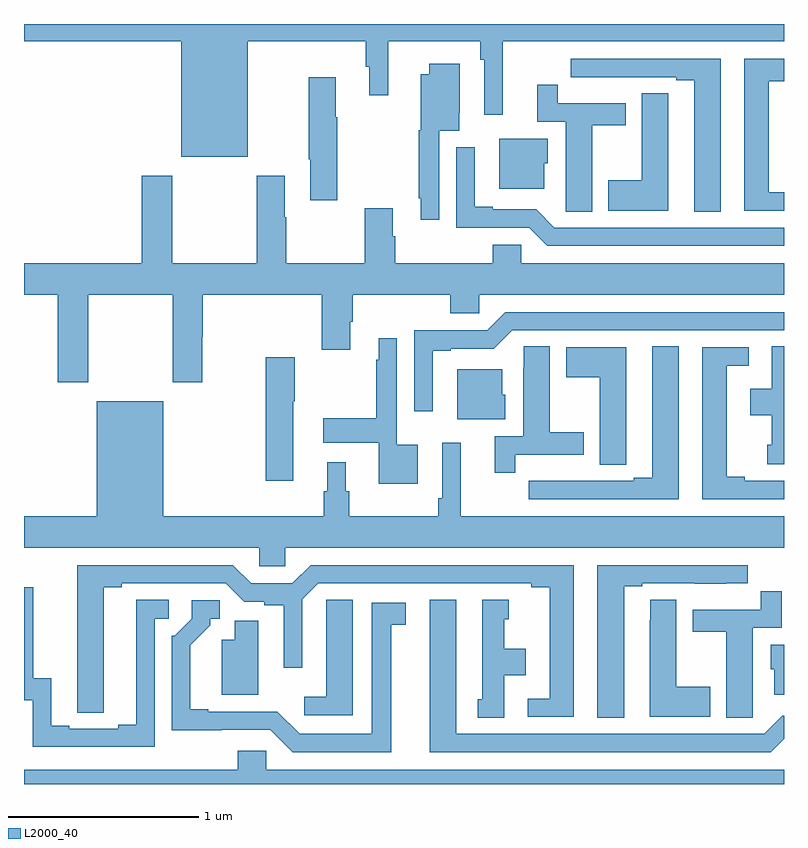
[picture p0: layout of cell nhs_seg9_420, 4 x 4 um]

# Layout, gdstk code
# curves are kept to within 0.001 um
import gdstk
lib = gdstk.Library(unit=1e-6, precision=1e-09)
def P(c, l, *ps):  # polygons
    for p in ps: c.add(gdstk.Polygon(p, *l))
L2000_40 = (2000, 40)

nhs_seg9_420 = lib.new_cell('nhs_seg9_420')
P(nhs_seg9_420, L2000_40, [(132.178,1208.408),(132.799,1208.408),(132.799,1208.274),(132.818,1208.274),(132.818,1208.124),(132.917,1208.124),(132.917,1208.408),(133.402,1208.408),(133.402,1208.312),(133.422,1208.312),(133.422,1208.022),(133.52,1208.022),(133.52,1208.408),(135,1208.408),(135,1208.5),(131,1208.5),(131,1208.408),(131.828,1208.408),(131.828,1207.802),(132.178,1207.802)],
  [(135,1207.614),(134.92,1207.614),(134.92,1208.2),(135,1208.2),(135,1208.316),(134.792,1208.316),(134.792,1207.518),(135,1207.518)],
  [(134.668,1208.316),(133.878,1208.316),(133.878,1208.22),(133.99,1208.22),(133.99,1208.219),(134.156,1208.219),(134.156,1208.22),(134.432,1208.22),(134.432,1208.205),(134.528,1208.205),(134.528,1207.513),(134.668,1207.513)],
  [(133.185,1207.937),(133.291,1207.937),(133.291,1208.034),(133.294,1208.034),(133.294,1208.29),(133.133,1208.29),(133.133,1208.236),(133.088,1208.236),(133.088,1207.941),(133.077,1207.941),(133.077,1207.582),(133.088,1207.582),(133.088,1207.47),(133.185,1207.47)],
  [(132.648,1208.008),(132.64,1208.008),(132.64,1208.221),(132.499,1208.221),(132.499,1207.789),(132.506,1207.789),(132.506,1207.572),(132.648,1207.572)],
  [(133.99,1207.966),(134.167,1207.966),(134.167,1208.082),(133.808,1208.082),(133.808,1208.179),(133.7,1208.179),(133.7,1207.986),(133.85,1207.986),(133.85,1207.624),(133.851,1207.624),(133.851,1207.513),(133.99,1207.513)],
  [(134.392,1208.027),(134.391,1208.027),(134.391,1208.135),(134.252,1208.135),(134.252,1207.677),(134.075,1207.677),(134.075,1207.517),(134.392,1207.517)],
  [(133.738,1207.767),(133.756,1207.767),(133.756,1207.897),(133.502,1207.897),(133.502,1207.634),(133.738,1207.634)],
  [(135,1207.428),(133.791,1207.428),(133.695,1207.524),(133.468,1207.524),(133.468,1207.537),(133.372,1207.537),(133.372,1207.852),(133.275,1207.852),(133.275,1207.428),(133.659,1207.428),(133.755,1207.332),(135,1207.332)],
  [(131.337,1207.076),(131.782,1207.076),(131.782,1206.615),(131.937,1206.615),(131.937,1206.854),(131.942,1206.854),(131.942,1207.076),(132.566,1207.076),(132.566,1206.786),(132.718,1206.786),(132.718,1206.934),(132.731,1206.934),(132.731,1207.076),(133.244,1207.076),(133.244,1206.978),(133.395,1206.978),(133.395,1207.076),(135,1207.076),(135,1207.24),(133.617,1207.24),(133.617,1207.338),(133.466,1207.338),(133.466,1207.24),(132.953,1207.24),(132.953,1207.382),(132.94,1207.382),(132.94,1207.531),(132.793,1207.531),(132.793,1207.24),(132.381,1207.24),(132.381,1207.484),(132.373,1207.484),(132.373,1207.702),(132.226,1207.702),(132.226,1207.24),(131.781,1207.24),(131.781,1207.702),(131.621,1207.702),(131.621,1207.24),(131,1207.24),(131,1207.076),(131.177,1207.076),(131.177,1206.615),(131.337,1206.615)],
  [(133.15,1206.78),(133.246,1206.78),(133.246,1206.792),(133.473,1206.792),(133.569,1206.888),(135,1206.888),(135,1206.984),(133.533,1206.984),(133.437,1206.888),(133.053,1206.888),(133.053,1206.462),(133.15,1206.462)],
  [(133.072,1206.286),(132.963,1206.286),(132.963,1206.847),(132.866,1206.847),(132.866,1206.734),(132.855,1206.734),(132.855,1206.426),(132.576,1206.426),(132.576,1206.296),(132.866,1206.296),(132.866,1206.08),(133.072,1206.08)],
  [(134.446,1206.803),(134.306,1206.803),(134.306,1206.111),(134.21,1206.111),(134.21,1206.096),(133.934,1206.096),(133.934,1206.097),(133.768,1206.097),(133.768,1206.096),(133.656,1206.096),(133.656,1206),(134.446,1206)],
  [(135,1206.803),(134.936,1206.803),(134.936,1206.58),(134.822,1206.58),(134.822,1206.44),(134.936,1206.44),(134.936,1206.285),(134.912,1206.285),(134.912,1206.183),(135,1206.183)],
  [(133.586,1206.234),(133.945,1206.234),(133.945,1206.351),(133.768,1206.351),(133.768,1206.803),(133.629,1206.803),(133.629,1206.692),(133.628,1206.692),(133.628,1206.33),(133.478,1206.33),(133.478,1206.138),(133.586,1206.138)],
  [(134.169,1206.289),(134.17,1206.289),(134.17,1206.799),(133.853,1206.799),(133.853,1206.64),(134.03,1206.64),(134.03,1206.181),(134.169,1206.181)],
  [(135,1206.096),(134.794,1206.096),(134.794,1206.116),(134.698,1206.116),(134.698,1206.702),(134.815,1206.702),(134.815,1206.798),(134.57,1206.798),(134.57,1206),(135,1206)],
  [(132.418,1206.514),(132.426,1206.514),(132.426,1206.745),(132.272,1206.745),(132.272,1206.096),(132.418,1206.096)],
  [(133.534,1206.549),(133.516,1206.549),(133.516,1206.682),(133.28,1206.682),(133.28,1206.419),(133.534,1206.419)],
  [(132.375,1205.744),(135,1205.744),(135,1205.908),(133.298,1205.908),(133.298,1206.295),(133.2,1206.295),(133.2,1206.004),(133.18,1206.004),(133.18,1205.908),(132.713,1205.908),(132.713,1206.042),(132.694,1206.042),(132.694,1206.193),(132.596,1206.193),(132.596,1206.042),(132.577,1206.042),(132.577,1205.908),(131.734,1205.908),(131.734,1206.514),(131.384,1206.514),(131.384,1205.908),(131,1205.908),(131,1205.744),(132.237,1205.744),(132.237,1205.646),(132.375,1205.646)],
  [(134.158,1205.541),(134.254,1205.541),(134.254,1205.556),(134.53,1205.556),(134.53,1205.555),(134.696,1205.555),(134.696,1205.556),(134.809,1205.556),(134.809,1205.652),(134.018,1205.652),(134.018,1204.849),(134.158,1204.849)],
  [(133.894,1205.652),(132.509,1205.652),(132.413,1205.556),(132.195,1205.556),(132.099,1205.652),(131.279,1205.652),(131.28,1204.876),(131.419,1204.876),(131.419,1205.536),(131.515,1205.536),(131.515,1205.556),(132.063,1205.556),(132.159,1205.46),(132.264,1205.46),(132.264,1205.44),(132.368,1205.44),(132.368,1205.112),(132.465,1205.112),(132.465,1205.472),(132.549,1205.556),(133.67,1205.556),(133.67,1205.536),(133.766,1205.536),(133.766,1204.95),(133.65,1204.95),(133.65,1204.854),(133.894,1204.854)],
  [(131.688,1205.37),(131.761,1205.37),(131.761,1205.471),(131.591,1205.471),(131.591,1204.811),(131.495,1204.811),(131.495,1204.791),(131.239,1204.791),(131.239,1204.806),(131.143,1204.806),(131.143,1205.057),(131.049,1205.057),(131.049,1205.535),(131,1205.535),(131,1204.941),(131.046,1204.941),(131.046,1204.695),(131.688,1204.695)],
  [(134.835,1204.96),(134.836,1204.96),(134.836,1205.322),(134.987,1205.322),(134.987,1205.515),(134.878,1205.515),(134.878,1205.418),(134.519,1205.418),(134.519,1205.302),(134.696,1205.302),(134.696,1204.849),(134.835,1204.849)],
  [(134.611,1205.013),(134.434,1205.013),(134.434,1205.471),(134.295,1205.471),(134.295,1205.363),(134.294,1205.363),(134.294,1204.853),(134.611,1204.853)],
  [(132.73,1205.471),(132.591,1205.471),(132.591,1205.363),(132.59,1205.363),(132.59,1204.96),(132.474,1204.96),(132.474,1204.863),(132.73,1204.863)],
  [(135,1204.737),(135,1204.86),(134.991,1204.86),(134.895,1204.764),(133.276,1204.764),(133.276,1205.47),(133.136,1205.47),(133.136,1204.668),(134.931,1204.668)],
  [(133.528,1205.072),(133.642,1205.072),(133.642,1205.212),(133.528,1205.212),(133.528,1205.367),(133.552,1205.367),(133.552,1205.47),(133.412,1205.47),(133.412,1204.947),(133.388,1204.947),(133.388,1204.849),(133.528,1204.849)],
  [(132.934,1205.338),(133.009,1205.338),(133.009,1205.454),(132.83,1205.454),(132.83,1204.764),(132.45,1204.764),(132.333,1204.881),(131.971,1204.881),(131.971,1204.894),(131.875,1204.894),(131.875,1205.23),(131.98,1205.335),(131.98,1205.37),(132.03,1205.37),(132.03,1205.466),(131.883,1205.466),(131.883,1205.37),(131.793,1205.28),(131.778,1205.28),(131.778,1204.784),(132.297,1204.785),(132.414,1204.668),(132.934,1204.668)],
  [(132.232,1205.358),(132.11,1205.358),(132.11,1205.26),(132.041,1205.26),(132.041,1204.97),(132.232,1204.97)],
  [(135,1205.233),(134.93,1205.233),(134.93,1205.103),(134.948,1205.103),(134.948,1204.97),(135,1204.97)],
  [(135,1204.576),(132.276,1204.576),(132.276,1204.674),(132.125,1204.674),(132.125,1204.576),(131,1204.576),(131,1204.5),(135,1204.5)])

lib.write_gds('nhs_seg9_420.gds')
